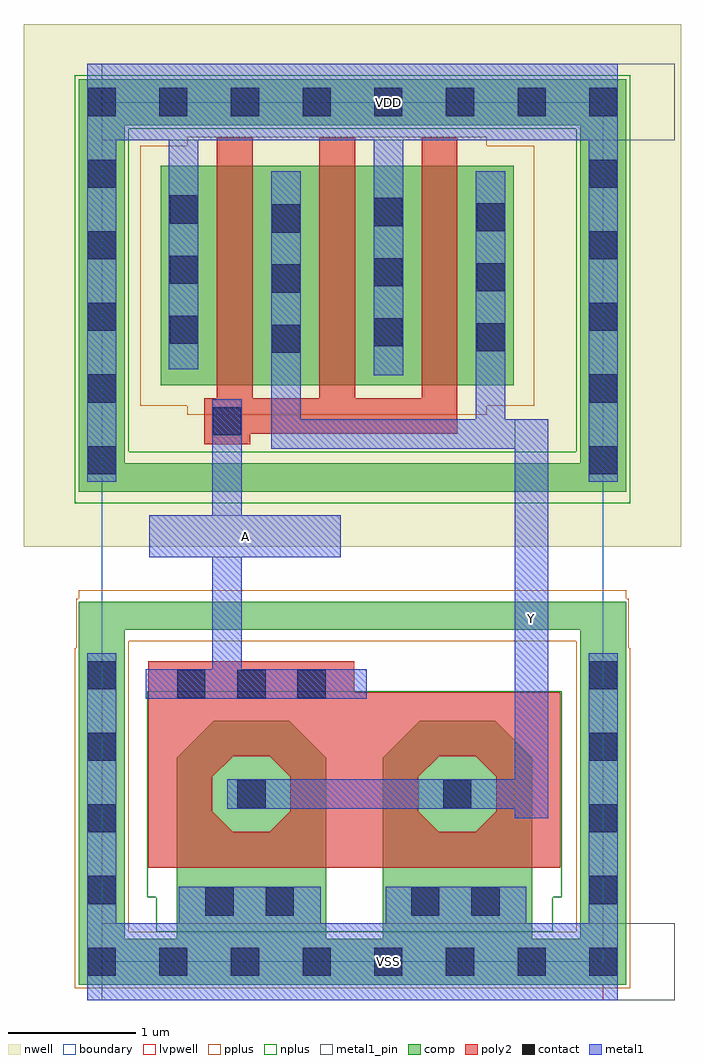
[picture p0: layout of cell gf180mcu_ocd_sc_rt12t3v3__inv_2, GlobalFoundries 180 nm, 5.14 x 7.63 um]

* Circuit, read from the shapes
.subckt gf180mcu_ocd_sc_rt12t3v3__inv_2 A VDD VSS Y
XM1 Y A VSS VSS nfet_03v3 w=1.785u l=0.5377u
XM2 Y A VSS VSS nfet_03v3 w=1.785u l=0.5259u
XM3 Y A VDD VDD pfet_03v3 w=1.715u l=0.28u m=3
.ends

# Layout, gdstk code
import gdstk
lib = gdstk.Library(unit=1e-6, precision=1e-09)
def R(c, l, rs):  # rectangles x0, y0, x1, y1
    for r in rs: c.add(gdstk.rectangle(r[:2], r[2:], *l))
def A(c, l, x, y, w, h, nx, ny, dx, dy):  # array of equal rectangles
    R(c, l, [(x+i*dx, y+j*dy, x+i*dx+w, y+j*dy+h) for i in range(nx) for j in range(ny)])
def P(c, l, *ps):  # polygons
    for p in ps: c.add(gdstk.Polygon(p, *l))
boundary = (0, 0)
nwell = (21, 0)
comp = (22, 0)
poly2 = (30, 0)
pplus = (31, 0)
nplus = (32, 0)
contact = (33, 0)
metal1 = (34, 0)
metal1_pin = (34, 10)
lvpwell = (204, 0)

gf180mcu_ocd_sc_rt12t3v3 = lib.new_cell('gf180mcu_ocd_sc_rt12t3v3__inv_2')
R(gf180mcu_ocd_sc_rt12t3v3, boundary, [(0,0,3.92,6.72)])
R(gf180mcu_ocd_sc_rt12t3v3, nwell, [(-0.61,3.245,4.53,7.33)])
R(gf180mcu_ocd_sc_rt12t3v3, comp, [(-0.18,-0.18,4.1,0.18), (-0.18,0.18,0.18,2.595), (0.585,0.18,1.755,1.595), (2.195,0.18,3.365,1.595), (3.74,0.18,4.1,2.595), (0.875,1.595,1.465,1.885), (2.485,1.595,3.075,1.885), (-0.18,2.595,4.1,2.815), (-0.18,3.675,4.1,3.895), (-0.18,3.895,0.18,6.54), (3.74,3.895,4.1,6.54), (0.46,4.505,3.22,6.22), (-0.18,6.54,4.1,6.9)])
P(gf180mcu_ocd_sc_rt12t3v3, comp, [(0.585,1.595),(0.875,1.595),(0.875,1.885)],
  [(1.465,1.885),(1.465,1.595),(1.755,1.595)],
  [(2.195,1.595),(2.485,1.595),(2.485,1.885)],
  [(3.075,1.885),(3.075,1.595),(3.365,1.595)])
A(gf180mcu_ocd_sc_rt12t3v3, poly2, 0.9, 4.405, 0.28, 2.035, 3, 1, 0.8, 0)
R(gf180mcu_ocd_sc_rt12t3v3, poly2, [(0.365,0.735,3.585,1.015), (0.365,1.015,0.865,1.595), (1.475,1.015,2.475,1.595), (3.085,1.015,3.585,1.595), (0.365,1.595,1.015,1.605), (1.325,1.595,2.625,1.605), (2.935,1.595,3.585,1.605), (0.365,1.605,3.585,2.105), (0.365,2.105,1.975,2.35), (0.8,4.045,1.16,4.125), (0.8,4.125,2.78,4.405)])
P(gf180mcu_ocd_sc_rt12t3v3, poly2, [(1.015,1.595),(1.015,1.605),(1.025,1.605)],
  [(1.315,1.605),(1.325,1.605),(1.325,1.595)],
  [(2.625,1.595),(2.625,1.605),(2.635,1.605)],
  [(2.925,1.605),(2.935,1.605),(2.935,1.595)],
  [(0.865,1.445),(0.865,1.595),(1.015,1.595)],
  [(1.325,1.595),(1.475,1.595),(1.475,1.445)],
  [(0.865,1.175),(0.865,1.015),(1.025,1.015)],
  [(1.315,1.015),(1.475,1.015),(1.475,1.175)],
  [(2.475,1.445),(2.475,1.595),(2.625,1.595)],
  [(2.935,1.595),(3.085,1.595),(3.085,1.445)],
  [(2.475,1.175),(2.475,1.015),(2.635,1.015)],
  [(2.925,1.015),(3.085,1.015),(3.085,1.175)])
R(gf180mcu_ocd_sc_rt12t3v3, pplus, [(-0.21,-0.21,4.13,0.235), (-0.21,0.235,0.21,2.45), (3.71,0.235,4.13,2.45), (-0.2,2.45,0.21,2.505), (3.71,2.45,4.12,2.505), (-0.2,2.505,4.12,2.835), (-0.18,2.835,4.1,2.905), (0.67,4.275,3.01,4.345), (0.3,4.345,3.38,6.38), (0.67,6.38,3.01,6.45)])
R(gf180mcu_ocd_sc_rt12t3v3, nplus, [(0.425,0.235,3.525,0.505), (0.355,0.505,3.595,2.115), (-0.21,3.585,4.13,3.985), (-0.21,3.985,0.21,6.51), (3.71,3.985,4.13,6.51), (-0.21,6.51,4.13,6.93)])
A(gf180mcu_ocd_sc_rt12t3v3, contact, -0.11, -0.11, 0.22, 0.22, 8, 2, 0.56, 6.72)
A(gf180mcu_ocd_sc_rt12t3v3, contact, -0.11, 0.45, 0.22, 0.22, 1, 4, 0, 0.56)
A(gf180mcu_ocd_sc_rt12t3v3, contact, 3.81, 0.45, 0.22, 0.22, 1, 4, 0, 0.56)
A(gf180mcu_ocd_sc_rt12t3v3, contact, 0.59, 2.06, 0.22, 0.22, 3, 1, 0.47, 0)
A(gf180mcu_ocd_sc_rt12t3v3, contact, -0.11, 3.81, 0.22, 0.22, 1, 5, 0, 0.56)
A(gf180mcu_ocd_sc_rt12t3v3, contact, 3.81, 3.81, 0.22, 0.22, 1, 5, 0, 0.56)
A(gf180mcu_ocd_sc_rt12t3v3, contact, 1.33, 4.76, 0.22, 0.22, 1, 3, 0, 0.47)
A(gf180mcu_ocd_sc_rt12t3v3, contact, 2.93, 4.77, 0.22, 0.22, 1, 3, 0, 0.47)
A(gf180mcu_ocd_sc_rt12t3v3, contact, 2.13, 4.81, 0.22, 0.22, 1, 3, 0, 0.47)
A(gf180mcu_ocd_sc_rt12t3v3, contact, 0.53, 4.83, 0.22, 0.22, 1, 3, 0, 0.47)
R(gf180mcu_ocd_sc_rt12t3v3, contact, [(0.81,0.36,1.03,0.58), (1.28,0.36,1.5,0.58), (2.42,0.36,2.64,0.58), (2.89,0.36,3.11,0.58), (1.06,1.2,1.28,1.42), (2.67,1.2,2.89,1.42), (0.87,4.115,1.09,4.335)])
R(gf180mcu_ocd_sc_rt12t3v3, metal1, [(-0.115,-0.3,4.035,0.3), (-0.115,0.3,0.115,2.41), (0.6,0.3,1.71,0.585), (2.22,0.3,3.32,0.585), (3.805,0.3,4.035,2.41), (3.23,1.12,3.49,1.195), (0.98,1.195,3.49,1.425), (3.23,1.425,3.49,4.01), (0.345,2.055,2.07,2.285), (0.865,2.285,1.095,3.16), (0.37,3.16,1.87,3.49), (0.865,3.49,1.095,4.395), (-0.115,3.75,0.115,6.42), (3.805,3.75,4.035,6.42), (1.325,4.01,3.49,4.24), (1.325,4.24,1.555,6.18), (2.925,4.24,3.155,6.18), (2.125,4.585,2.355,6.42), (0.525,4.63,0.755,6.42), (-0.115,6.42,4.035,7.02)])
R(gf180mcu_ocd_sc_rt12t3v3, metal1_pin, [(0,-0.3,4.48,0.3), (3.23,1.12,3.49,4.24), (0.37,3.16,1.87,3.49), (0,6.42,4.48,7.02)])
R(gf180mcu_ocd_sc_rt12t3v3, lvpwell, [(0,-0.3,3.92,-0.18), (-0.18,-0.18,4.1,2.815)])
gf180mcu_ocd_sc_rt12t3v3.add(gdstk.Label('A', (1.12,3.325), layer=34, texttype=10))
gf180mcu_ocd_sc_rt12t3v3.add(gdstk.Label('Y', (3.36,2.68), layer=34, texttype=10))
gf180mcu_ocd_sc_rt12t3v3.add(gdstk.Label('VDD', (2.24,6.72), layer=34, texttype=10))
gf180mcu_ocd_sc_rt12t3v3.add(gdstk.Label('VSS', (2.24,0), layer=34, texttype=10))

lib.write_gds('gf180mcu_ocd_sc_rt12t3v3__inv_2.gds')
